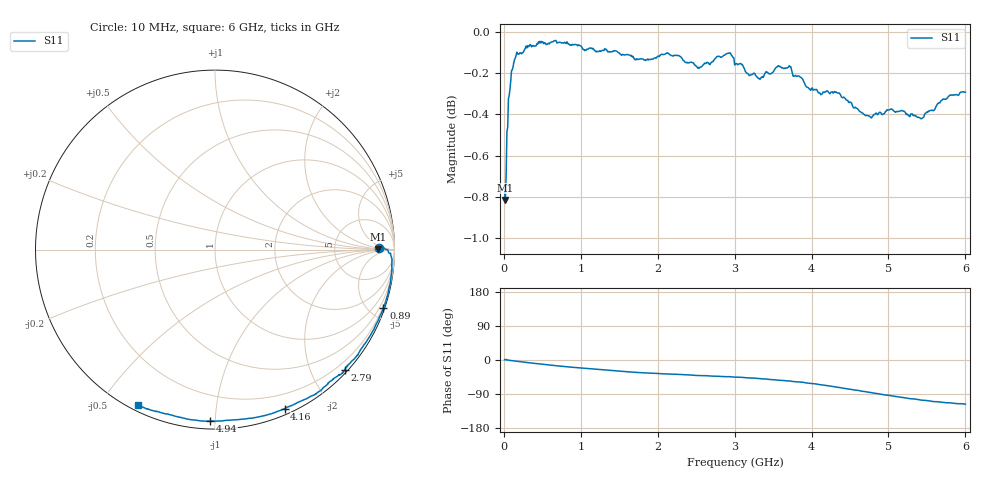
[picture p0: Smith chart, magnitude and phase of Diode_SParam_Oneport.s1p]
#  HZ  S  DB  R  50.00
! Rohde & Schwarz ZVA24 4Ports - Version 2.90 - 1145.1110k26 SN: 100216
! Date: 2012-03-15 14:47:33
! Measurement: S11
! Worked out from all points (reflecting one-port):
!   600 points, 10 MHz to 6 GHz, reference 50 ohm
!   lowest |S11| = -0.8 dB at 20 MHz (marker M1), VSWR 21.32, Z = 1.06e+03 + j43.7 ohm
!   phase of S11 starts at 1 deg and turns -117 deg over the sweep
!   S11 on the Smith chart (normalised r, x): 10 MHz: 22, +3; 890 MHz: 0.12, -5.92; 2.79 GHz: 0.05, -2.54; 4.16 GHz: 0.06, -1.53; 4.94 GHz: 0.04, -0.97; 6 GHz: 0.02, -0.62
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1e7  -0.76 0.7
2e7  -0.82 0.2
9e7  -0.24 -1.2
1.7e8  -0.10 -3.5
4.8e8  -0.05 -10.7
7.6e8  -0.05 -16.7
8.9e8  -0.06 -19.2
1.14e9  -0.08 -23.6
1.51e9  -0.11 -29.5
1.75e9  -0.13 -33.1
2.26e9  -0.11 -37.8
2.53e9  -0.17 -41.0
2.79e9  -0.12 -43.0
2.93e9  -0.10 -43.9
3.01e9  -0.15 -45.2
3.08e9  -0.15 -45.4
3.24e9  -0.20 -47.6
3.55e9  -0.17 -52.5
3.76e9  -0.21 -56.8
3.88e9  -0.23 -58.5
4.16e9  -0.29 -66.3
4.33e9  -0.29 -71.7
4.51e9  -0.34 -77.4
4.94e9  -0.40 -91.7
5.26e9  -0.40 -101.4
5.59e9  -0.38 -109.8
5.87e9  -0.30 -114.8
6e9  -0.29 -116.5
